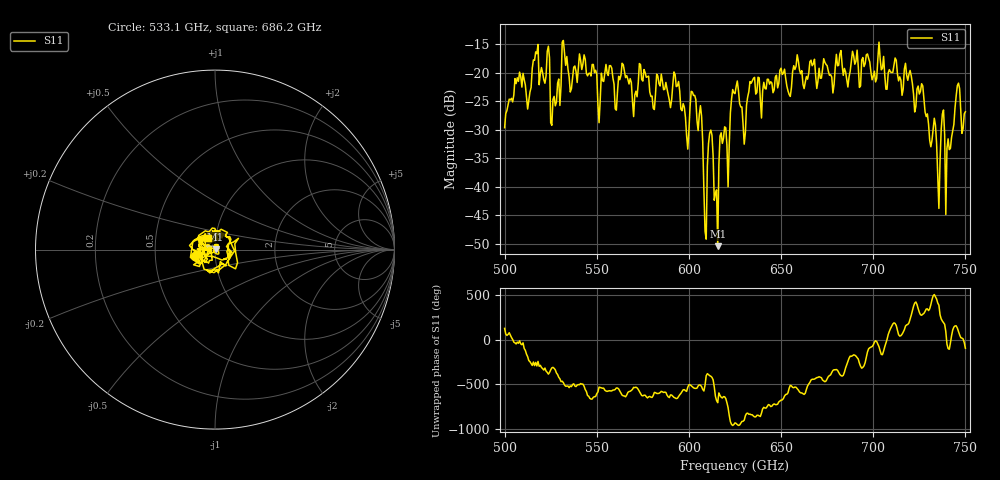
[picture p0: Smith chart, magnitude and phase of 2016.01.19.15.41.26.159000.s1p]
!Created with skrf (http://scikit-rf.org).
# GHz S RI R 50.0
!freq ReS11 ImS11
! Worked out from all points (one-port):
!   401 points, 500 GHz to 750 GHz, reference 50 ohm
!   lowest |S11| = -50.4 dB at 615.6 GHz (marker M1), VSWR 1.01, Z = 50.3 + j0.0681 ohm
!   |S11| at or under -10 dB: start of sweep to end of sweep
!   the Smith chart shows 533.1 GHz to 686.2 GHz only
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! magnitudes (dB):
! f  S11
! 500 GHz  -29.6
! 506.9 GHz  -20.9
! 513.1 GHz  -24.9
! 516.9 GHz  -16.3
! 523.1 GHz  -16.3
! 526.2 GHz  -24.7
! 531.2 GHz  -14.6
! 562.5 GHz  -21.2
! 593.8 GHz  -22.3
! 598.8 GHz  -31.1
! 602.5 GHz  -24.0
! 606.2 GHz  -25.8
! 608.8 GHz  -47.8
! 611.9 GHz  -30.1
! 614.4 GHz  -41.2
! 615.6 GHz  -50.4
! 618.1 GHz  -32.4
! 625 GHz  -23.7
! 629.4 GHz  -29.0
! 634.4 GHz  -21.4
! 656.2 GHz  -19.8
! 687.5 GHz  -19.7
! 718.8 GHz  -21.3
! 735.6 GHz  -43.8
! 737.5 GHz  -27.3
! 740.6 GHz  -31.6
! 745.6 GHz  -22.3
! 750 GHz  -26.9
